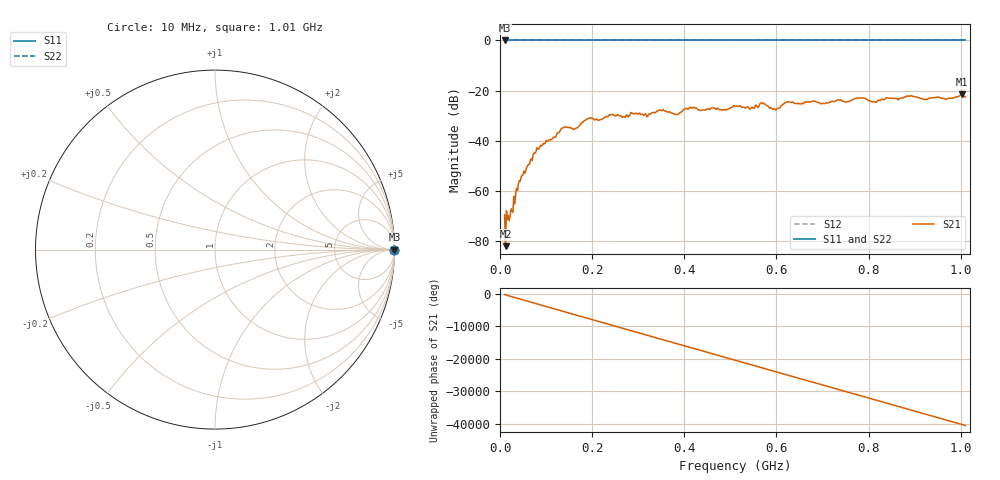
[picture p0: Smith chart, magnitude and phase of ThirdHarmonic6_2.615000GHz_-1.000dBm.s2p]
! 8/17/2025 5:45:07 AM
! C:\ANRITSUVNA\TEMP\TEMP.S2P
! CHANNEL.1
! TR.MEASUREMENT
! RAW.DATA
! RF.CORRECTION.OFF
! AVERAGING.OFF
! IF.BANDWIDTH: 5KHZ
! SWEEPTYPE:  FREQ.SWEEP(Linear)
! Reference Plane Port Info
! PORT:  PORT1  PORT2
! DISTANCE:  0  m  0  m
! TIME:  0  s  0  s
! PHASE.OFFSET:  0  deg.  0  deg.
! LOSS:  0  dB  0  dB
! REF.LOSS:  0  dB  0  dB
! REF.FREQ:  0  Hz  0  Hz
! Power Info
! POWER:  -20  dBm  -20  dBm
! EFF.POWER:  -20  dBm  -20  dBm
! SOURCE.ATTEN:  0  dB  0  dB
! TEST.ATTEN:  0  dB  0  dB
# GHZ S RI R 50.0
! FREQ.GHZ  S11RE  S11IM  S21RE  S21IM  S12RE  S12IM  S22RE  S22IM
!; PortSelection: Port_12
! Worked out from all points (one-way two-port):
!   501 points, 10 MHz to 1.01 GHz, reference 50 ohm
!   highest |S21| = -21.52 dB at 1.002 GHz (marker M1); lowest = -82.0 dB at 12 MHz (marker M2)
!   lowest |S11| = 0.0 dB at 10 MHz (marker M3)
!   |S11| at or under -10 dB: nowhere
!   |S22| runs from 0.0 to 0.0 dB; largest |S21 - S12| = 1.1
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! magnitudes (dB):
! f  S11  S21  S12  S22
! 10 MHz  0.0  -69.5  0.0  0.0
! 12 MHz  0.0  -82.0  0.0  0.0
! 16 MHz  0.0  -71.3  0.0  0.0
! 24 MHz  0.0  -67.1  0.0  0.0
! 44 MHz  0.0  -56.1  0.0  0.0
! 76 MHz  0.0  -44.9  0.0  0.0
! 136 MHz  0.0  -34.9  0.0  0.0
! 164 MHz  0.0  -35.0  0.0  0.0
! 178 MHz  0.0  -32.6  0.0  0.0
! 194 MHz  0.0  -30.9  0.0  0.0
! 344 MHz  0.0  -28.0  0.0  0.0
! 382 MHz  0.0  -29.4  0.0  0.0
! 416 MHz  0.0  -27.0  0.0  0.0
! 510 MHz  0.0  -26.3  0.0  0.0
! 546 MHz  0.0  -26.6  0.0  0.0
! 570 MHz  0.0  -24.9  0.0  0.0
! 596 MHz  0.0  -27.1  0.0  0.0
! 622 MHz  0.0  -24.5  0.0  0.0
! 678 MHz  0.0  -24.3  0.0  0.0
! 844 MHz  0.0  -23.0  0.0  0.0
! 1.002 GHz  0.0  -21.5  0.0  0.0
! 1.01 GHz  0.0  -22.6  0.0  0.0
